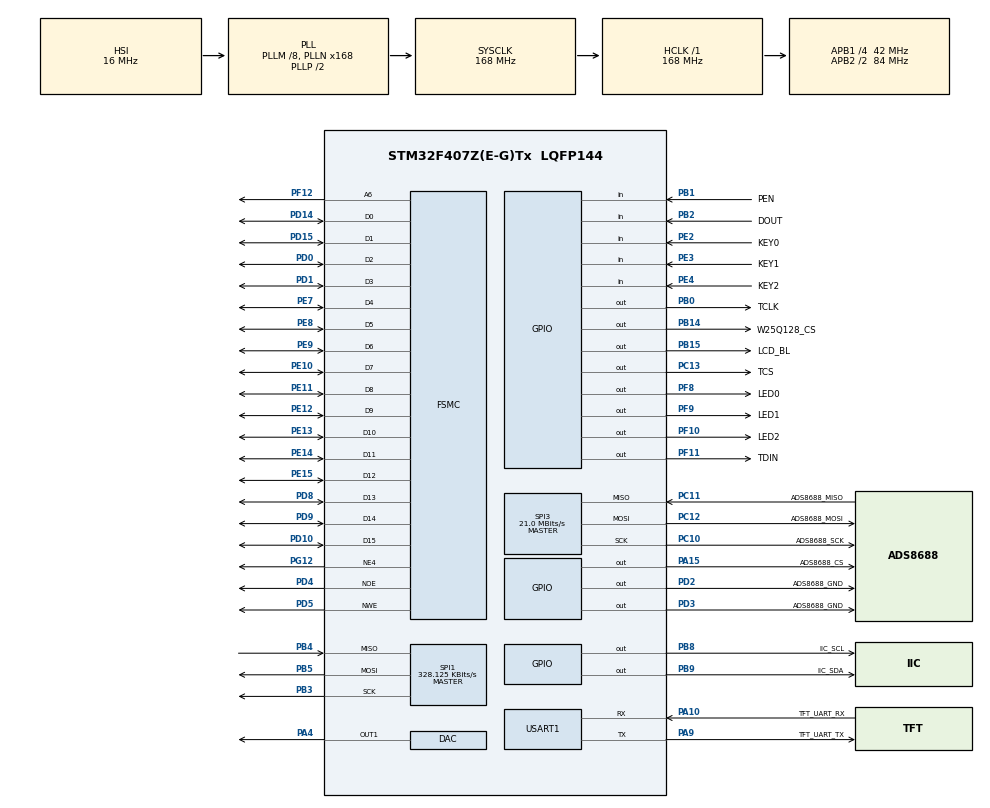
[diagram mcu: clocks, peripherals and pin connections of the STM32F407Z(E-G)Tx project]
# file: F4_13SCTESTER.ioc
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Dma.SPI3_RX.0.Priority=DMA_PRIORITY_LOW
Dma.SPI3_RX.0.FIFOMode=DMA_FIFOMODE_DISABLE
PH0-OSC_IN.Signal=RCC_OSC_IN
PF10.GPIO_ModeDefaultOutputPP=GPIO_MODE_OUTPUT_PP
SH.FSMC_D1_DA1.0=FSMC_D1,16b-d1
SPI3.Direction=SPI_DIRECTION_2LINES
SPI3.VirtualType=VM_MASTER
SPI1.VirtualType=VM_MASTER
PC12.Signal=SPI3_MOSI
PB14.GPIO_Label=W25Q128_CS
SH.FSMC_NWE.0=FSMC_NWE,Lcd1
PE8.GPIO_PuPd=GPIO_PULLUP
PE10.GPIO_PuPd=GPIO_PULLUP
PD10.GPIO_PuPd=GPIO_PULLUP
FSMC.ExtendedBusTurnAroundDuration1=0
PF10.GPIO_PuPd=GPIO_PULLUP
PF8.PinState=GPIO_PIN_SET
PB3.GPIO_Speed=GPIO_SPEED_FREQ_VERY_HIGH
RCC.SYSCLKSource=RCC_SYSCLKSOURCE_PLLCLK
SPI1.Direction=SPI_DIRECTION_2LINES
PD4.Signal=FSMC_NOE
RCC.APB2TimFreq_Value=168000000
SPI1.CalculateBaudRate=328.125 KBits/s
PD0.Signal=FSMC_D2_DA2
PD8.Signal=FSMC_D13_DA13
Dma.SPI3_RX.0.PeriphDataAlignment=DMA_PDATAALIGN_HALFWORD
PF10.GPIO_Label=LED2
Dma.SPI3_RX.0.Direction=DMA_PERIPH_TO_MEMORY
PB2.Signal=GPIO_Input
PB3.Mode=Full_Duplex_Master
PC13-ANTI_TAMP.Signal=GPIO_Output
Dma.SPI3_RX.0.MemDataAlignment=DMA_MDATAALIGN_HALFWORD
SH.FSMC_D10_DA10.0=FSMC_D10,16b-d1
PF8.GPIO_ModeDefaultOutputPP=GPIO_MODE_OUTPUT_PP
PE9.Signal=FSMC_D6_DA6
PB1.GPIO_Label=PEN
PE4.GPIO_Label=KEY2
PE2.Signal=GPIO_Input
PD14.GPIO_PuPd=GPIO_PULLUP
FSMC.BusTurnAroundDuration1=0
PE10.Signal=FSMC_D7_DA7
SH.FSMC_D5_DA5.0=FSMC_D5,16b-d1
PB2.GPIO_PuPd=GPIO_PULLUP
Mcu.Package=LQFP144
PB9.Signal=GPIO_Output
PB1.Signal=GPIO_Input
PB14.GPIO_PuPd=GPIO_PULLUP
SPI3.Mode=SPI_MODE_MASTER
PA10.Signal=USART1_RX
PB9.GPIO_PuPd=GPIO_PULLUP
PC11.Mode=Full_Duplex_Master
PB5.GPIO_Speed=GPIO_SPEED_FREQ_VERY_HIGH
RCC.APB2CLKDivider=RCC_HCLK_DIV2
SH.FSMC_D3_DA3.0=FSMC_D3,16b-d1
PG12.GPIO_PuPd=GPIO_PULLUP
RCC.APB1TimFreq_Value=84000000
PF9.GPIO_PuPd=GPIO_PULLUP
NVIC.USART1_IRQn=true\:0\:1\:false\:false\:true\:true\:true
PD9.GPIO_PuPd=GPIO_PULLUP
PD15.Signal=FSMC_D1_DA1
PE12.GPIO_PuPd=GPIO_PULLUP
PG12.Signal=FSMC_NE4
FSMC.ExtendedAddressSetupTime1=9
Dma.SPI3_TX.1.MemInc=DMA_MINC_ENABLE
PC13-ANTI_TAMP.GPIO_Label=TCS
PA9.GPIO_Label=TFT_UART_TX
PD3.Signal=GPIO_Output
PB8.GPIO_PuPd=GPIO_PULLUP
PD1.Signal=FSMC_D3_DA3
SH.FSMC_D9_DA9.0=FSMC_D9,16b-d1
SPI1.CLKPhase=SPI_PHASE_2EDGE
PD1.GPIO_PuPd=GPIO_PULLUP
Dma.SPI3_TX.1.Priority=DMA_PRIORITY_LOW
RCC.APB1CLKDivider=RCC_HCLK_DIV4
SH.FSMC_D8_DA8.0=FSMC_D8,16b-d1
PF8.GPIO_Label=LED0
PD10.Signal=FSMC_D15_DA15
PF11.GPIO_Speed=GPIO_SPEED_FREQ_VERY_HIGH
PB8.GPIO_Label=IIC_SCL
PB14.GPIO_Speed=GPIO_SPEED_FREQ_VERY_HIGH
FSMC.DataSetupTime1=60
PB1.GPIO_Mode=GPIO_MODE_INPUT
PA9.Signal=USART1_TX
Dma.SPI3_TX.1.MemDataAlignment=DMA_MDATAALIGN_HALFWORD
VP_TIM8_VS_ClockSourceINT.Mode=Internal
PB4.GPIO_PuPd=GPIO_PULLUP
PB14.Signal=GPIO_Output
PE2.GPIO_PuPd=GPIO_PULLUP
PC12.Mode=Full_Duplex_Master
SH.FSMC_D7_DA7.0=FSMC_D7,16b-d1
PE14.Signal=FSMC_D11_DA11
PE15.Signal=FSMC_D12_DA12
PB15.GPIO_Label=LCD_BL
PE8.Signal=FSMC_D5_DA5
SPI1.Mode=SPI_MODE_MASTER
PE3.GPIO_PuPd=GPIO_PULLUP
PA13.Mode=Serial_Wire
PE4.GPIO_PuPd=GPIO_PULLUP
TIM8.Period=4
Dma.SPI3_TX.1.PeriphInc=DMA_PINC_DISABLE
PA4.Signal=COMP_DAC1_group
PB5.Signal=SPI1_MOSI
PB5.GPIO_PuPd=GPIO_PULLUP
PC12.GPIO_Label=ADS8688_MOSI
USART1.VirtualMode=VM_ASYNC
SH.FSMC_D15_DA15.0=FSMC_D15,16b-d1
ProjectManager.HeapSize=0x200
PD0.GPIO_PuPd=GPIO_PULLUP
PF9.Signal=GPIO_Output
NVIC.TIM8_UP_TIM13_IRQn=true\:0\:0\:false\:false\:true\:true\:true
PF9.GPIO_ModeDefaultOutputPP=GPIO_MODE_OUTPUT_PP
NVIC.PriorityGroup=NVIC_PRIORITYGROUP_2
PF12.GPIO_PuPd=GPIO_PULLUP
PE3.Signal=GPIO_Input
PD2.Signal=GPIO_Output
PF10.PinState=GPIO_PIN_SET
PB0.Signal=GPIO_Output
PD2.GPIO_Label=ADS8688_GND
Mcu.Family=STM32F4
FSMC.AddressSetupTime1=0x0f
PE7.GPIO_PuPd=GPIO_PULLUP
RCC.CortexFreq_Value=168000000
SH.FSMC_A6.0=FSMC_A6,A6_1
PC10.Signal=SPI3_SCK
SH.FSMC_D0_DA0.0=FSMC_D0,16b-d1
PF9.GPIO_Speed=GPIO_SPEED_FREQ_VERY_HIGH
PB0.GPIO_Label=TCLK
PD8.GPIO_PuPd=GPIO_PULLUP
PB15.Signal=GPIO_Output
ProjectManager.StackSize=0x400
PA15.GPIO_Label=ADS8688_CS
Dma.SPI3_RX.0.MemInc=DMA_MINC_ENABLE
SPI1.CLKPolarity=SPI_POLARITY_HIGH
PE11.GPIO_PuPd=GPIO_PULLUP
PB1.GPIO_PuPd=GPIO_PULLUP
RCC.HCLKFreq_Value=168000000
PF11.GPIO_Label=TDIN
PF12.Signal=FSMC_A6
RCC.AHBFreq_Value=168000000
PH0-OSC_IN.Mode=HSE-External-Oscillator
SPI3.DataSize=SPI_DATASIZE_16BIT
RCC.HSE_VALUE=8000000
PE13.GPIO_PuPd=GPIO_PULLUP
PB3.GPIO_PuPd=GPIO_PULLUP
PB4.Mode=Full_Duplex_Master
PE13.Signal=FSMC_D10_DA10
SH.FSMC_D14_DA14.0=FSMC_D14,16b-d1
PF8.GPIO_PuPd=GPIO_PULLUP
PA14.Mode=Serial_Wire
PF11.Signal=GPIO_Output
SH.FSMC_D6_DA6.0=FSMC_D6,16b-d1
PC11.GPIO_Label=ADS8688_MISO
PB5.Mode=Full_Duplex_Master
PA10.GPIO_Label=TFT_UART_RX
PE4.Signal=GPIO_Input
SH.FSMC_D4_DA4.0=FSMC_D4,16b-d1
PH1-OSC_OUT.Mode=HSE-External-Oscillator
PB15.GPIO_PuPd=GPIO_PULLUP
PD15.GPIO_PuPd=GPIO_PULLUP
SH.FSMC_D13_DA13.0=FSMC_D13,16b-d1
PA15.Signal=GPIO_Output
PF8.Signal=GPIO_Output
Dma.SPI3_TX.1.Direction=DMA_MEMORY_TO_PERIPH
TIM8.Prescaler=168
PB9.GPIO_Speed=GPIO_SPEED_FREQ_VERY_HIGH
Dma.Request1=SPI3_TX
NVIC.DMA1_Stream0_IRQn=true\:0\:0\:false\:false\:true\:false\:true
SH.FSMC_D2_DA2.0=FSMC_D2,16b-d1
PD3.GPIO_Label=ADS8688_GND
PE7.Signal=FSMC_D4_DA4
Dma.Request0=SPI3_RX
SPI1.BaudRatePrescaler=SPI_BAUDRATEPRESCALER_256
PE2.GPIO_Label=KEY0
PB4.Signal=SPI1_MISO
SH.COMP_DAC1_group.0=DAC_OUT1,DAC_OUT1
SH.FSMC_D12_DA12.0=FSMC_D12,16b-d1
PB9.GPIO_Label=IIC_SDA
PC10.GPIO_Label=ADS8688_SCK
PA10.Mode=Asynchronous
Dma.SPI3_RX.0.PeriphInc=DMA_PINC_DISABLE
FSMC.ExtendedMode1=FSMC_EXTENDED_MODE_ENABLE
PC11.Signal=SPI3_MISO
PF10.GPIO_Speed=GPIO_SPEED_FREQ_VERY_HIGH
PC10.Mode=Full_Duplex_Master
Dma.SPI3_TX.1.FIFOMode=DMA_FIFOMODE_DISABLE
PD9.Signal=FSMC_D14_DA14
PD5.Signal=FSMC_NWE
Dma.SPI3_TX.1.Instance=DMA1_Stream5
PB0.GPIO_Speed=GPIO_SPEED_FREQ_VERY_HIGH
Dma.SPI3_RX.0.Mode=DMA_NORMAL
Dma.SPI3_TX.1.PeriphDataAlignment=DMA_PDATAALIGN_HALFWORD
PA13.Signal=SYS_JTMS-SWDIO
PD4.GPIO_PuPd=GPIO_PULLUP
PA9.Mode=Asynchronous
PB14.PinState=GPIO_PIN_SET
Dma.SPI3_TX.1.Mode=DMA_NORMAL
ProjectManager.TargetToolchain=STM32CubeIDE
NVIC.DMA1_Stream5_IRQn=true\:0\:0\:false\:false\:true\:false\:true
PF9.PinState=GPIO_PIN_SET
PF9.GPIO_Label=LED1
PE11.Signal=FSMC_D8_DA8
RCC.LSE_VALUE=32768
FSMC.ExtendedDataSetupTime1=8
board=custom
PG12.Mode=NorPsramChipSelect4_1
SPI3.CLKPhase=SPI_PHASE_2EDGE
RCC.VCOOutputFreq_Value=336000000
PA15.PinState=GPIO_PIN_SET
PB4.GPIO_Speed=GPIO_SPEED_FREQ_VERY_HIGH
RCC.APB2Freq_Value=84000000
SPI3.CalculateBaudRate=21.0 MBits/s
PF10.Signal=GPIO_Output
PB15.GPIO_Speed=GPIO_SPEED_FREQ_MEDIUM
SPI3.BaudRatePrescaler=SPI_BAUDRATEPRESCALER_2
PH1-OSC_OUT.Signal=RCC_OSC_OUT
PD5.GPIO_PuPd=GPIO_PULLUP
PE14.GPIO_PuPd=GPIO_PULLUP
Mcu.Name=STM32F407Z(E-G)Tx
Dma.SPI3_RX.0.Instance=DMA1_Stream0
PE12.Signal=FSMC_D9_DA9
PD14.Signal=FSMC_D0_DA0
RCC.48MHZClocksFreq_Value=84000000
PB3.Signal=SPI1_SCK
RCC.SYSCLKFreq_VALUE=168000000
PA15.GPIO_Speed=GPIO_SPEED_FREQ_VERY_HIGH
PA14.Signal=SYS_JTCK-SWCLK
PB2.GPIO_Label=DOUT
PE15.GPIO_PuPd=GPIO_PULLUP
SH.FSMC_D11_DA11.0=FSMC_D11,16b-d1
SH.FSMC_NOE.0=FSMC_NOE,Lcd1
RCC.HSI_VALUE=16000000
RCC.PLLM=8
RCC.PLLN=168
PF8.GPIO_Speed=GPIO_SPEED_FREQ_VERY_HIGH
PA15.GPIO_PuPd=GPIO_PULLUP
PB8.Signal=GPIO_Output
PE3.GPIO_Label=KEY1
RCC.APB1Freq_Value=42000000
PB8.GPIO_Speed=GPIO_SPEED_FREQ_VERY_HIGH
PB0.GPIO_PuPd=GPIO_PULLUP
PE9.GPIO_PuPd=GPIO_PULLUP

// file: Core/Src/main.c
/* USER CODE BEGIN Header */
/**
  ******************************************************************************
  * @file           : main.c
  * @brief          : Main program body
  ******************************************************************************
  * @attention
  *
  * <h2><center>&copy; Copyright (c) 2021 STMicroelectronics.
  * All rights reserved.</center></h2>
  *
  * This software component is licensed by ST under BSD 3-Clause license,
  * the "License"; You may not use this file except in compliance with the
  * License. You may obtain a copy of the License at:
  *                        opensource.org/licenses/BSD-3-Clause
  *
  ******************************************************************************
  */
/* USER CODE END Header */
#include "main.h"
#include "dac.h"
#include "dma.h"
#include "spi.h"
#include "tim.h"
#include "usart.h"
#include "gpio.h"
#include "fsmc.h"

/* USER CODE BEGIN Includes */
#include "base.h"
#include "lcd.h"
#include "text.h"
#include "touch.h"
#include "w25qxx.h"
#include "hmi_user_uart.h"
#include "hmi_driver.h"
#include "ADS8688.h"
#include "stdio.h"
#include "arm_math.h"
/* USER CODE END Includes */

/* USER CODE BEGIN PD */
#define TP_CHECK(x0,y0,x1,y1) tp_dev.x[0] > x0 && tp_dev.y[0] > y0 && tp_dev.x[0] < x1 && tp_dev.y[0] < y1
#define SAMPLE_BEGIN PAout(15)=0;
#define SAMPLE_END   PAout(15)=1;
/* USER CODE END PD */

void SystemClock_Config(void);

/* USER CODE BEGIN 0 */
//---------------------------------DEBUG--------------------------------
arm_fir_instance_f32 S;
extern u8  SAMPLE_END_FLAG;
extern float BUF[2000];
float FIR_BUF[2000];
float FIR_STA[2000];

extern u8 rxbuf[2][4];
extern u8 txbuf[2]   ;
extern u16 rxdata[2]  ;

const u32 SAVE_ADDR = 0x0000f000;
SVAR Svar = {
  /*u8  WIFI     ;    //WIFI状态是否开启                                                      */      0,
  /*u8  CH_SELECT;    //当前所选通道 0 1 2 3                         */      3,
  /*u8  TG_SOURCE;    //触发源 1-CH1 2-CH2                           */      0,
  /*u8  TG_MODE;      //触发模式 1-上升沿触发，2-下降沿触发，3-电平触发*/      1,
  /*u8  RUN;          //是否STOP                                     */      1,
  /*u8  AUTO;         //是否AUTO                                     */      0,
  /*u8  COUPE;        //耦合方式 0-直流 1-交流                       */      0,
  /*u16 TG_VAL;       //触发电平                                     */      0,
  /*float VREF;       //ADS参考电压                                                               */ 4.096f,
  /*float VCC;        //STM32参考电压                                                           */ 3.300f,
  /*float COMPENSATE; //频率补偿                                     */  99.0f
};

//数据保存操作
//mode-0 写入默认  mode-1 读出 mode-2 数据检查并更新
void DATA_OP(u8 mode)
{
  u8 *VAR_ADDR   = (u8*)&Svar; //变量地址
  u32 FLASH_ADDR = SAVE_ADDR ; //FLASH储存首地址
  u8  data;                    //暂存数据
  u16 size;                    //当前已经储存大小

  for(size=0;size<sizeof(SVAR);size++,VAR_ADDR++,FLASH_ADDR++)
  {
	switch(mode)
	{
	  case 0:W25QXX_Write(VAR_ADDR,FLASH_ADDR,1);break;
	  case 1:W25QXX_Read (VAR_ADDR,FLASH_ADDR,1);break;
	  case 2:{
	      W25QXX_Read (&data,FLASH_ADDR,1);
		  if(data != *VAR_ADDR) W25QXX_Write(VAR_ADDR,FLASH_ADDR,1);
	  }
	}
  }
}
void DATA_INIT() {u8 key = KEY_Scan(0);if(key == KEY0_PRES) DATA_OP(0);else DATA_OP(1);}
void DATA_UPDATE() {DATA_OP(2);}
/* USER CODE END 0 */

int main(void)
{
  /* USER CODE BEGIN 1 */
  u16 i=0;
  /* USER CODE END 1 */

  /* MCU Configuration--------------------------------------------------------*/

  /* Reset of all peripherals, Initializes the Flash interface and the Systick. */
  HAL_Init();

  /* Configure the system clock */
  SystemClock_Config();

  /* Initialize all configured peripherals */
  MX_GPIO_Init();
  MX_DMA_Init();
  MX_FSMC_Init();
  MX_SPI1_Init();
  MX_USART1_UART_Init();
  MX_SPI3_Init();
  MX_DAC_Init();
  MX_TIM8_Init();
  /* USER CODE BEGIN 2 */
  //无时耗
  delay_init(168);
  W25QXX_Init();
  LCD_Init();
  font_init();
  tp_dev.init();
  TFT_Init();
  ADS8688_Init(&ads8688, &hspi3, ADS8688_CS_GPIO_Port, ADS8688_CS_Pin);
  HAL_DAC_Start(&hdac,DAC1_CHANNEL_1);
  arm_fir_init_f32(&S,33,BUF,FIR_STA,2000);

  delay_ms(100);

  SAMPLE_BEGIN;
  HAL_SPI_TransmitReceive_DMA(&hspi3, txbuf, rxbuf[0], 2);
  delay_ms(100);
  //时耗
  DATA_INIT();
//  HAL_TIM_Base_Start_IT(&htim8);
  delay_ms(100);
  delay_ms(100);

  /* USER CODE END 2 */

  /* Infinite loop */
  /* USER CODE BEGIN WHILE */
  while (1)
  {
	u8 str[20] = {0};
    /* USER CODE END WHILE */

    /* USER CODE BEGIN 3 */
    delay_ms(10);
    LED0_T;

    if(SAMPLE_END_FLAG && i < 2000)
    {
//    	arm_fir_f32(&S,);
    	sprintf((char*)str,"%5ld,%5ld\r\n",(s32)BUF[i]-0x8000,(s32)BUF[i]-0x8000-50);
    	i++;
    	HAL_UART_Transmit(&huart1, str, 13, 10);
    }
	DATA_UPDATE();
  }
  /* USER CODE END 3 */
}

void SystemClock_Config(void)
{
  RCC_OscInitTypeDef RCC_OscInitStruct = {0};
  RCC_ClkInitTypeDef RCC_ClkInitStruct = {0};

  /** Configure the main internal regulator output voltage
  */
  __HAL_RCC_PWR_CLK_ENABLE();
  __HAL_PWR_VOLTAGESCALING_CONFIG(PWR_REGULATOR_VOLTAGE_SCALE1);
  /** Initializes the RCC Oscillators according to the specified parameters
  * in the RCC_OscInitTypeDef structure.
  */
  RCC_OscInitStruct.OscillatorType = RCC_OSCILLATORTYPE_HSI;
  RCC_OscInitStruct.HSIState = RCC_HSI_ON;
  RCC_OscInitStruct.HSICalibrationValue = RCC_HSICALIBRATION_DEFAULT;
  RCC_OscInitStruct.PLL.PLLState = RCC_PLL_ON;
  RCC_OscInitStruct.PLL.PLLSource = RCC_PLLSOURCE_HSI;
  RCC_OscInitStruct.PLL.PLLM = 8;
  RCC_OscInitStruct.PLL.PLLN = 168;
  RCC_OscInitStruct.PLL.PLLP = RCC_PLLP_DIV2;
  RCC_OscInitStruct.PLL.PLLQ = 4;
  if (HAL_RCC_OscConfig(&RCC_OscInitStruct) != HAL_OK)
  {
    Error_Handler();
  }
  /** Initializes the CPU, AHB and APB buses clocks
  */
  RCC_ClkInitStruct.ClockType = RCC_CLOCKTYPE_HCLK|RCC_CLOCKTYPE_SYSCLK
                              |RCC_CLOCKTYPE_PCLK1|RCC_CLOCKTYPE_PCLK2;
  RCC_ClkInitStruct.SYSCLKSource = RCC_SYSCLKSOURCE_PLLCLK;
  RCC_ClkInitStruct.AHBCLKDivider = RCC_SYSCLK_DIV1;
  RCC_ClkInitStruct.APB1CLKDivider = RCC_HCLK_DIV4;
  RCC_ClkInitStruct.APB2CLKDivider = RCC_HCLK_DIV2;

  if (HAL_RCC_ClockConfig(&RCC_ClkInitStruct, FLASH_LATENCY_5) != HAL_OK)
  {
    Error_Handler();
  }
}

void Error_Handler(void)
{
  __disable_irq();
  while (1)
  {
  }
}

/************************ (C) COPYRIGHT STMicroelectronics *****END OF FILE****/
